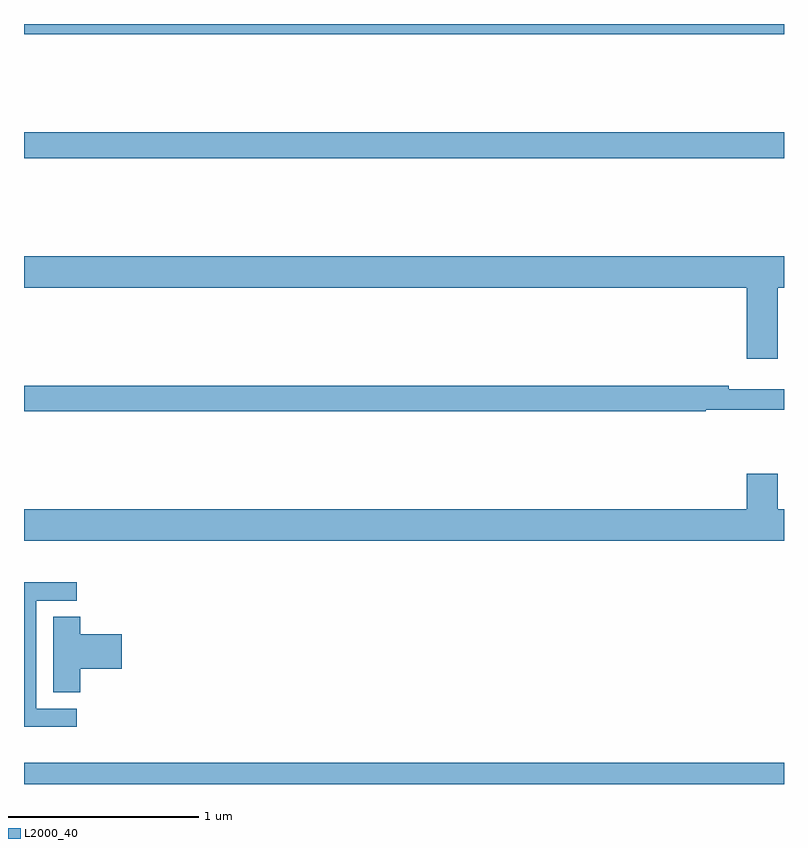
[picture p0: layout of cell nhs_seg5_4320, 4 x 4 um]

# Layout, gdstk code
import gdstk
lib = gdstk.Library(unit=1e-6, precision=1e-09)
def R(c, l, rs):  # rectangles x0, y0, x1, y1
    for r in rs: c.add(gdstk.rectangle(r[:2], r[2:], *l))
def P(c, l, *ps):  # polygons
    for p in ps: c.add(gdstk.Polygon(p, *l))
L2000_40 = (2000, 40)

nhs_seg5_4320 = lib.new_cell('nhs_seg5_4320')
R(nhs_seg5_4320, L2000_40, [(365,868.799,369,868.912), (365,872.092,369,872.228), (365,872.744,369,872.799)])
P(nhs_seg5_4320, L2000_40, [(368.968,871.412),(369,871.412),(369,871.576),(365,871.576),(365,871.412),(368.804,871.412),(368.804,871.038),(368.968,871.038)],
  [(368.588,870.768),(369,870.768),(369,870.877),(368.708,870.877),(368.708,870.896),(365,870.896),(365,870.76),(368.588,870.76)],
  [(369,870.244),(368.968,870.244),(368.968,870.433),(368.804,870.433),(368.804,870.244),(365,870.244),(365,870.08),(369,870.08)],
  [(365.278,869.196),(365.064,869.196),(365.064,869.763),(365.278,869.763),(365.278,869.862),(365,869.862),(365,869.1),(365.278,869.1)],
  [(365.297,869.405),(365.515,869.405),(365.515,869.588),(365.297,869.588),(365.297,869.678),(365.153,869.678),(365.153,869.281),(365.297,869.281)])

lib.write_gds('nhs_seg5_4320.gds')
